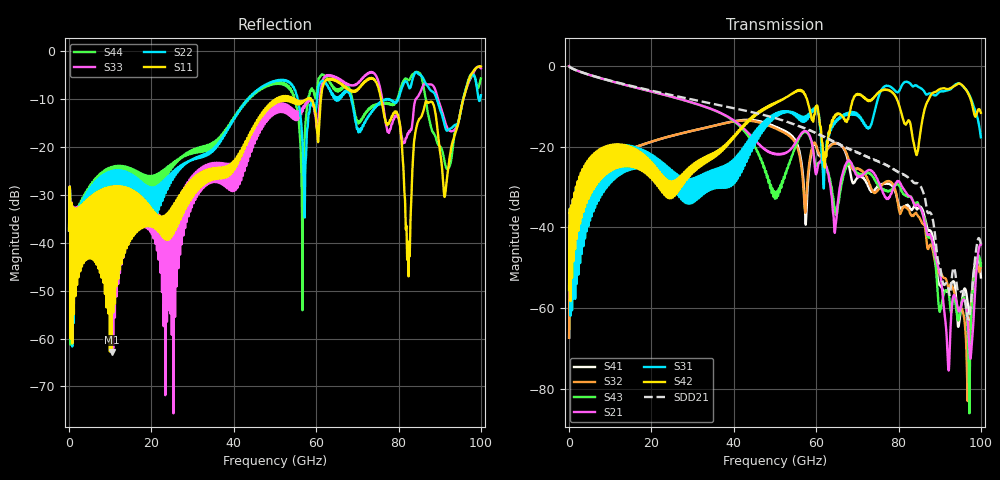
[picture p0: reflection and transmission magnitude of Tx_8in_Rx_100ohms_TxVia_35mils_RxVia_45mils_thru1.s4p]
! Info: Touchstone file created by Circ.  Input file=Tx_8in_Rx_100ohms_TxVia_35mils_RxVia_45mils.circ
# Hz S RI R 50
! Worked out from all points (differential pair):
!   10000 points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, 10 MHz to 100 GHz, reference 50 ohm
!   strongest paths, dB at 10 MHz, 25.01 GHz, 50.01 GHz, 75.01 GHz, 100 GHz:
!     S42: -55.6, -28.7, -9.4, -6.7, -11.6
!     S31: -55.6, -26.7, -12.9, -8.1, -17.7
!     S21: -0.1, -7.7, -21.9, -28.5, -44.2
!     S43: -0.1, -7.7, -32.8, -29.6, -49.5
!     S32: -67.3, -17.3, -15.4, -30.8, -49.0
!     S41: -67.3, -17.3, -15.1, -29.9, -52.4
!   taken as a pair (ports 1,3 in; 2,4 out), SDD21 dB: -0.1, -7.3, -13.0, -23.7, -44.2
!   lowest |S11| = -62.8 dB at 10.32 GHz (marker M1), VSWR 1.00, Z = 50.1 - j0.0192 ohm
!   |S11| at or under -10 dB: start of sweep to 50.45 GHz; 54.58 GHz to 57.77 GHz (3.188 GHz wide, 5.67 % of centre); 75.76 GHz to 95.75 GHz (19.99 GHz wide, 23.3 % of centre)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
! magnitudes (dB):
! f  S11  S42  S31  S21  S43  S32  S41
! 10 MHz  -37.4  -55.6  -55.6  -0.1  -0.1  -67.3  -67.3
! 10.32 GHz  -62.8  -24.4  -26.4  -3.8  -3.8  -22.8  -22.8
! 73.41 GHz  -5.6  -8.4  -14.5  -26.0  -27.1  -30.5  -31.2
! 82.36 GHz  -43.7  -13.5  -4.1  -32.2  -32.5  -35.6  -34.7
! 86.56 GHz  -10.7  -10.0  -7.0  -39.7  -39.2  -40.9  -38.3
! 92.08 GHz  -24.4  -5.8  -6.0  -74.8  -55.9  -54.8  -55.8
! 100 GHz  -3.2  -11.6  -17.7  -44.2  -49.5  -49.0  -52.4
